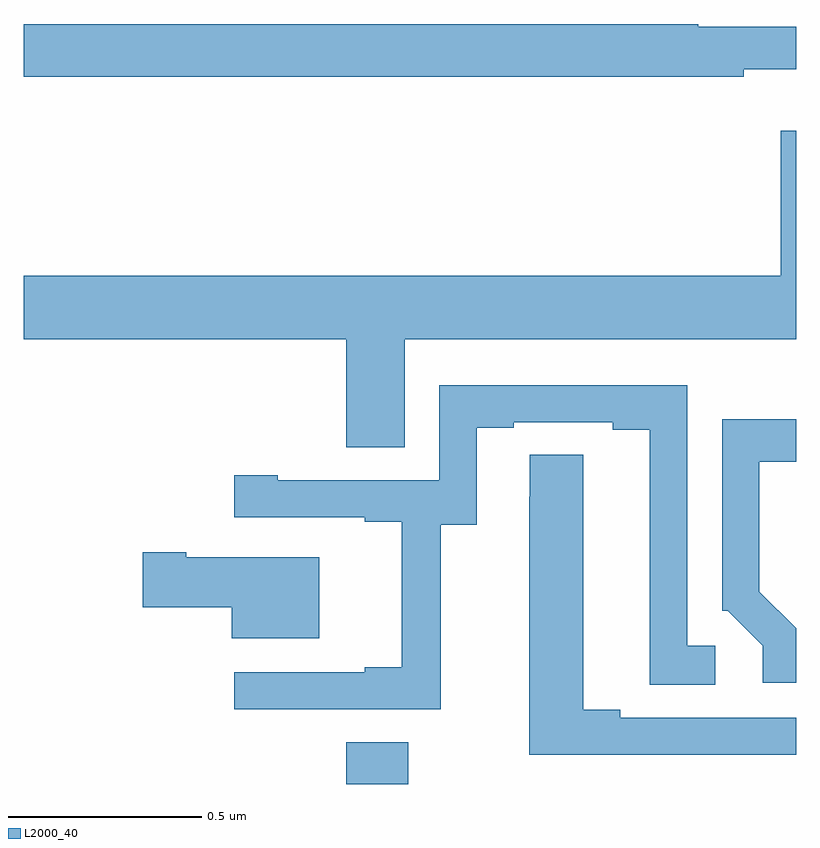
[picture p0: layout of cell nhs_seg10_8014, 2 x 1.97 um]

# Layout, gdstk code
import gdstk
lib = gdstk.Library(unit=1e-6, precision=1e-09)
def R(c, l, rs):  # rectangles x0, y0, x1, y1
    for r in rs: c.add(gdstk.rectangle(r[:2], r[2:], *l))
def P(c, l, *ps):  # polygons
    for p in ps: c.add(gdstk.Polygon(p, *l))
L2000_40 = (2000, 40)

nhs_seg10_8014 = lib.new_cell('nhs_seg10_8014')
R(nhs_seg10_8014, L2000_40, [(211.835,1296.5,211.995,1296.608)])
P(nhs_seg10_8014, L2000_40, [(212.864,1298.351),(213,1298.351),(213,1298.461),(212.746,1298.461),(212.746,1298.468),(211,1298.468),(211,1298.332),(212.864,1298.332)],
  [(211.987,1297.652),(213,1297.652),(213,1298.191),(212.96,1298.191),(212.96,1297.816),(211,1297.816),(211,1297.652),(211.835,1297.652),(211.835,1297.372),(211.987,1297.372)],
  [(212.079,1297.171),(212.173,1297.171),(212.173,1297.422),(212.269,1297.422),(212.269,1297.437),(212.525,1297.437),(212.525,1297.417),(212.621,1297.417),(212.621,1296.757),(212.791,1296.757),(212.791,1296.858),(212.718,1296.858),(212.718,1297.533),(212.076,1297.533),(212.076,1297.287),(211.657,1297.287),(211.657,1297.3),(211.545,1297.3),(211.545,1297.191),(211.883,1297.191),(211.883,1297.179),(211.979,1297.179),(211.979,1296.802),(211.883,1296.802),(211.883,1296.789),(211.545,1296.789),(211.545,1296.693),(212.079,1296.693)],
  [(213,1296.903),(212.905,1296.998),(212.905,1297.335),(213,1297.335),(213,1297.445),(212.808,1297.445),(212.808,1296.948),(212.823,1296.948),(212.913,1296.858),(212.913,1296.762),(213,1296.762)],
  [(213,1296.672),(212.545,1296.672),(212.545,1296.692),(212.449,1296.692),(212.449,1297.352),(212.31,1297.352),(212.31,1297.244),(212.309,1297.244),(212.309,1296.576),(213,1296.576)],
  [(211.765,1297.087),(211.42,1297.087),(211.42,1297.1),(211.308,1297.1),(211.308,1296.958),(211.538,1296.958),(211.538,1296.878),(211.765,1296.878)])

lib.write_gds('nhs_seg10_8014.gds')
